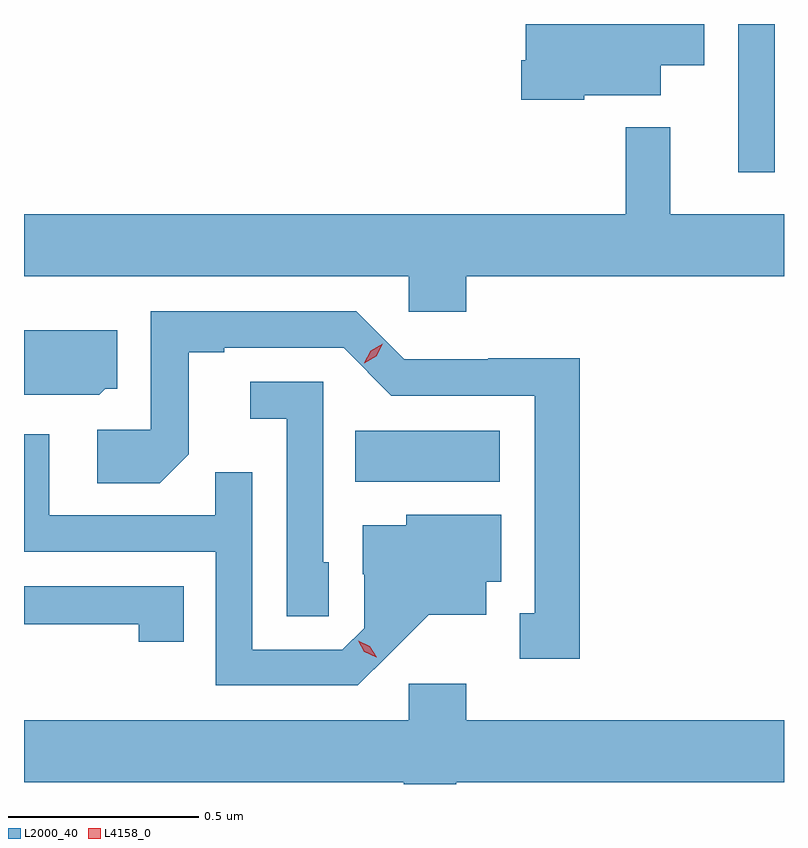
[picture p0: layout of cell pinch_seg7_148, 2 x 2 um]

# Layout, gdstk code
import gdstk
lib = gdstk.Library(unit=1e-6, precision=1e-09)
def R(c, l, rs):  # rectangles x0, y0, x1, y1
    for r in rs: c.add(gdstk.rectangle(r[:2], r[2:], *l))
def P(c, l, *ps):  # polygons
    for p in ps: c.add(gdstk.Polygon(p, *l))
L2000_40 = (2000, 40)
L4158_0 = (4158, 0)

pinch_seg7_148 = lib.new_cell('pinch_seg7_148')
R(pinch_seg7_148, L2000_40, [(1030.252,1005.404,1030.632,1005.538), (1031.259,1006.218,1031.356,1006.608)])
P(pinch_seg7_148, L2000_40, [(1030.854,1006.421),(1031.056,1006.421),(1031.056,1006.499),(1031.17,1006.499),(1031.17,1006.608),(1030.7,1006.608),(1030.7,1006.513),(1030.688,1006.513),(1030.688,1006.409),(1030.854,1006.409)],
  [(1030.544,1005.944),(1031.38,1005.944),(1031.38,1006.108),(1031.081,1006.108),(1031.081,1006.336),(1030.963,1006.336),(1030.963,1006.108),(1029.38,1006.108),(1029.38,1005.944),(1030.392,1005.944),(1030.392,1005.851),(1030.544,1005.851)],
  [(1030.843,1005.728),(1030.602,1005.728),(1030.602,1005.726),(1030.38,1005.726),(1030.254,1005.852),(1029.714,1005.852),(1029.714,1005.54),(1029.573,1005.54),(1029.573,1005.4),(1029.737,1005.4),(1029.813,1005.476),(1029.813,1005.744),(1029.907,1005.744),(1029.907,1005.756),(1030.221,1005.756),(1030.347,1005.63),(1030.724,1005.63),(1030.724,1005.057),(1030.685,1005.057),(1030.685,1004.937),(1030.843,1004.937)],
  [(1029.594,1005.648),(1029.625,1005.648),(1029.625,1005.802),(1029.38,1005.802),(1029.38,1005.633),(1029.444,1005.633),(1029.444,1005.632),(1029.578,1005.632)],
  [(1030.182,1005.192),(1030.167,1005.192),(1030.167,1005.666),(1029.975,1005.666),(1029.975,1005.569),(1030.071,1005.569),(1030.071,1005.049),(1030.182,1005.049)],
  [(1030.342,1004.951),(1030.445,1005.053),(1030.597,1005.053),(1030.597,1005.14),(1030.636,1005.14),(1030.636,1005.316),(1030.386,1005.316),(1030.386,1005.289),(1030.271,1005.289),(1030.271,1005.16),(1030.275,1005.16),(1030.275,1005.018),(1030.218,1004.961),(1029.981,1004.961),(1029.981,1005.428),(1029.883,1005.428),(1029.883,1005.315),(1029.447,1005.315),(1029.447,1005.529),(1029.38,1005.529),(1029.38,1005.219),(1029.885,1005.219),(1029.885,1004.868),(1030.258,1004.868)],
  [(1029.8,1005.129),(1029.38,1005.129),(1029.38,1005.028),(1029.682,1005.028),(1029.682,1004.982),(1029.8,1004.982)],
  [(1030.518,1004.612),(1031.38,1004.612),(1031.38,1004.776),(1030.544,1004.776),(1030.544,1004.872),(1030.392,1004.872),(1030.392,1004.776),(1029.38,1004.776),(1029.38,1004.612),(1030.379,1004.612),(1030.379,1004.608),(1030.518,1004.608)])
P(pinch_seg7_148, L4158_0, [(1030.275,1005.715),(1030.275,1005.716),(1030.292,1005.748),(1030.324,1005.767),(1030.324,1005.767),(1030.324,1005.767),(1030.307,1005.734),(1030.275,1005.715)],
  [(1030.307,1004.941),(1030.276,1004.956),(1030.259,1004.985),(1030.259,1004.985),(1030.259,1004.985),(1030.29,1004.971),(1030.308,1004.942),(1030.308,1004.941)])

lib.write_gds('pinch_seg7_148.gds')
